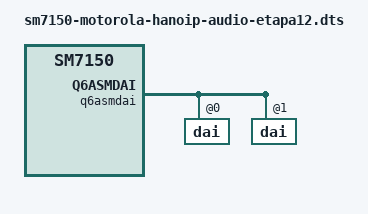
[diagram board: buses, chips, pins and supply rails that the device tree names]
// SPDX-License-Identifier: BSD-3-Clause
/*
 * ÁUDIO — ETAPA 12: card completo (alto-falante + earpiece + fone + mics).
 *
 * Reavaliação de 28/10 (docs/kernel/REAVALIACAO-AUDIO-20261028.md): o EIO das
 * etapas 5..11 NÃO era o DSP nem o voto DCODEC. Medido em runtime na etapa 10:
 *   - com 'RX_MACRO RX0 MUX'=AIF1_PB (+ INT0 MIX/DEM) o aplay roda (rc=0);
 *     com o mux em ZERO dá EIO — o AIF do macro não liga no DAPM e a
 *     interface CODEC_DMA não é habilitada;
 *   - idem na captura com 'TX DEC0 MUX'=SWR_MIC;
 *   - rotear o MESMO FE (MultiMedia1) nos dois sentidos corrompe a sessão do
 *     q6routing (um port_id por sessão) -> ADM_CMD_DEVICE_OPEN_V5 EBADPARAM.
 *
 * Base: etapa5 (reset do WCD937x em <&lpass_tlmm 6>, link do alto-falante
 * preservado). Mudanças:
 *   1. clock do rxmacro com os ids de RX (bug do sm7150.dtsi, ver etapa10);
 *   2. audio-routing = o do stock/upstream, ligando macro <-> codec
 *      (IN1_HPHL<-HPHL_OUT ... TX SWR_ADC2<-ADC2_OUTPUT). Substitui as rotas
 *      "WCD AIF Playback" da etapa9, que deixavam o codec sempre ligado;
 *   3. FE MultiMedia2 só de captura (as sessões ASM/ADM ficam separadas);
 *   4. MultiMedia1 só de playback.
 */
#include "sm7150-motorola-hanoip-audio-etapa5.dts"

&rxmacro {
	clocks = <&q6afecc LPASS_CLK_ID_RX_CORE_MCLK LPASS_CLK_ATTRIBUTE_COUPLE_NO>,
		 <&q6afecc LPASS_CLK_ID_RX_CORE_NPL_MCLK LPASS_CLK_ATTRIBUTE_COUPLE_NO>,
		 <&q6afecc LPASS_HW_MACRO_VOTE LPASS_CLK_ATTRIBUTE_COUPLE_NO>,
		 <&vamacro>;
};

&q6asmdai {
	dai@0 {
		direction = <Q6ASM_DAI_RX>;
	};

	dai@1 {
		reg = <MSM_FRONTEND_DAI_MULTIMEDIA2>;
		direction = <Q6ASM_DAI_TX>;
	};
};

&{/sound} {
	/* stock qcom,audio-routing (sem os widgets de máquina "Analog Mic") */
	audio-routing =
		"AMIC1", "MIC BIAS1",
		"AMIC2", "MIC BIAS2",
		"AMIC3", "MIC BIAS3",
		"IN1_HPHL", "HPHL_OUT",
		"IN2_HPHR", "HPHR_OUT",
		"IN3_AUX", "AUX_OUT",
		"TX SWR_ADC0", "ADC1_OUTPUT",
		"TX SWR_ADC2", "ADC2_OUTPUT";

	mm2-dai-link {
		link-name = "MultiMedia2";

		cpu {
			sound-dai = <&q6asmdai MSM_FRONTEND_DAI_MULTIMEDIA2>;
		};
	};
};
